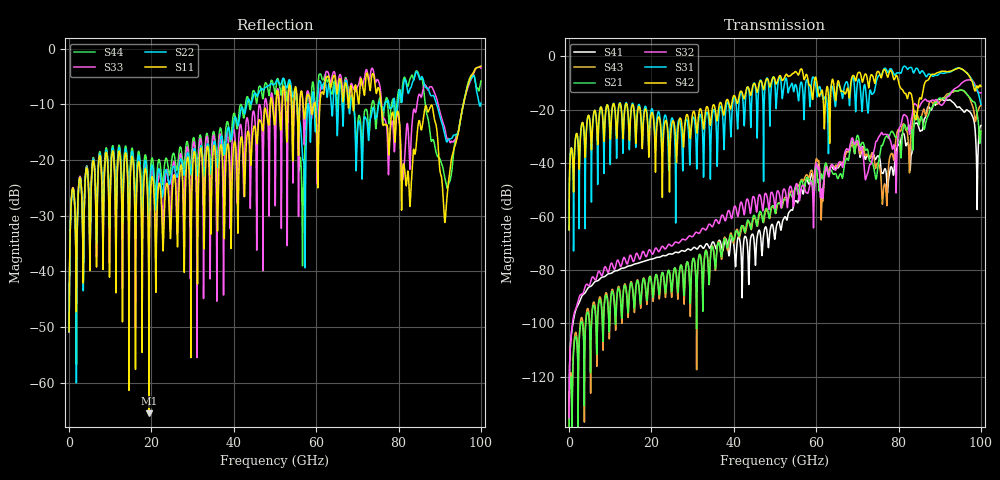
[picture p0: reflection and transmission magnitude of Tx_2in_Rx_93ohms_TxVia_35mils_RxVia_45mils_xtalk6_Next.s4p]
! Info: Touchstone file created by Circ.  Input file=Tx_2in_Rx_93ohms_TxVia_35mils_RxVia_45mils.circ
# Hz S RI R 50
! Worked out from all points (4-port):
!   10000 points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, 10 MHz to 100 GHz, reference 50 ohm
!   strongest paths, dB at 10 MHz, 25.01 GHz, 50.01 GHz, 75.01 GHz, 100 GHz:
!     S42: -65.0, -25.0, -8.9, -5.6, -11.3
!     S31: -65.0, -23.1, -10.9, -7.6, -18.0
!     S32: -135.4, -71.0, -56.9, -30.8, -13.7
!     S21: -144.8, -86.9, -58.5, -41.1, -27.9
!     S43: -143.3, -88.4, -57.9, -40.1, -18.4
!     S41: -135.4, -74.1, -68.1, -37.3, -25.9
!   lowest |S11| = -65.5 dB at 19.38 GHz (marker M1), VSWR 1.00, Z = 50 + j0.0523 ohm
!   |S11| at or under -10 dB: start of sweep to 48.83 GHz; 59.77 GHz to 60.92 GHz (1.141 GHz wide, 1.89 % of centre); 75.8 GHz to 95.74 GHz (19.94 GHz wide, 23.3 % of centre)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
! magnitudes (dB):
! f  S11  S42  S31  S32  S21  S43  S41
! 10 MHz  -50.8  -65.0  -65.0  -135.4  -144.8  -143.3  -135.4
! 4.69 GHz  -24.5  -22.1  -22.1  -85.8  -96.5  -95.0  -86.6
! 19.38 GHz  -65.5  -37.6  -32.9  -72.6  -83.6  -83.7  -76.2
! 62.71 GHz  -5.1  -11.3  -19.0  -42.3  -42.0  -41.7  -43.1
! 76.81 GHz  -13.6  -5.3  -4.5  -29.2  -30.4  -48.4  -42.2
! 91.33 GHz  -30.9  -5.6  -6.2  -16.7  -15.8  -14.9  -16.5
! 100 GHz  -3.2  -11.3  -18.0  -13.7  -27.9  -18.4  -25.9
